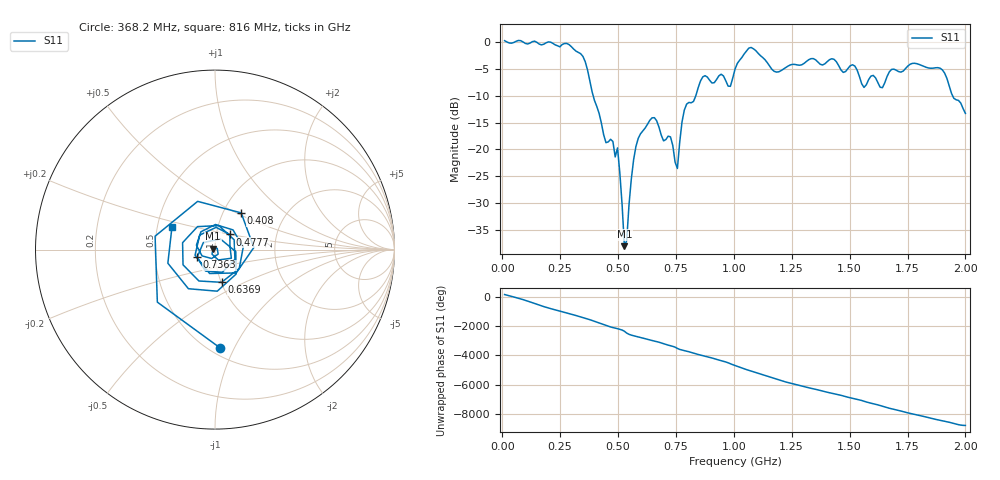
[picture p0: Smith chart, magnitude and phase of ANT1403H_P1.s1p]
!Created with skrf (http://scikit-rf.org).
# Hz S RI R 50.0
!freq ReS11 ImS11
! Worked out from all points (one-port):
!   201 points, 10 MHz to 2 GHz, reference 50 ohm
!   lowest |S11| = -38.0 dB at 527.4 MHz (marker M1), VSWR 1.03, Z = 48.9 + j0.538 ohm
!   |S11| at or under -10 dB: 392.4 MHz to 836 MHz (443.5 MHz wide, 72.2 % of centre); 1.945 GHz to end of sweep
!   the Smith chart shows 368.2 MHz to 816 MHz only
!   S11 on the Smith chart (normalised r, x): 368.2 MHz: 0.56, -0.88; 408 MHz: 1.21, +0.53; 477.6 MHz: 1.16, +0.20; 636.9 MHz: 1.00, -0.38; 736.4 MHz: 0.82, -0.07; 816 MHz: 0.60, +0.16
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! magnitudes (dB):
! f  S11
! 10 MHz  0.2
! 258.8 MHz  -0.5
! 368.2 MHz  -5.2
! 408 MHz  -12.0
! 447.8 MHz  -18.8
! 477.6 MHz  -18.5
! 497.6 MHz  -19.7
! 507.5 MHz  -24.3
! 527.4 MHz  -38.0
! 537.4 MHz  -37.0
! 557.2 MHz  -25.5
! 577.1 MHz  -19.5
! 636.9 MHz  -14.6
! 736.4 MHz  -19.3
! 756.2 MHz  -23.6
! 786.1 MHz  -12.7
! 816 MHz  -11.3
! 865.7 MHz  -6.5
! 985.1 MHz  -8.3
! 1.005 GHz  -5.1
! 1.075 GHz  -1.0
! 1.174 GHz  -5.5
! 1.254 GHz  -4.2
! 1.502 GHz  -4.4
! 1.642 GHz  -8.5
! 1.751 GHz  -4.5
! 1.901 GHz  -5.2
! 2 GHz  -13.3
